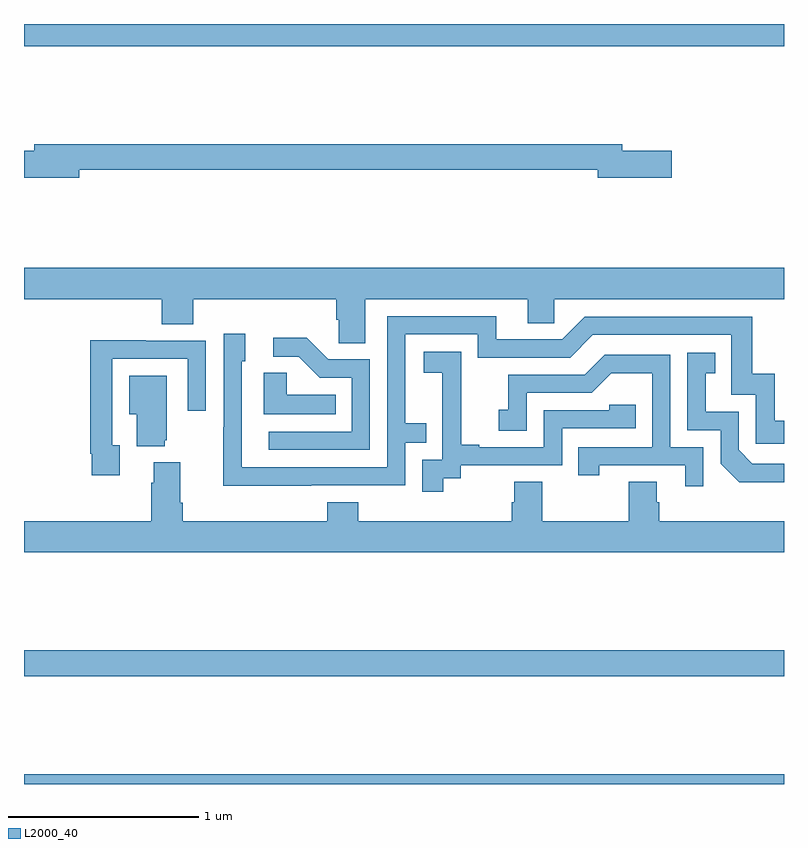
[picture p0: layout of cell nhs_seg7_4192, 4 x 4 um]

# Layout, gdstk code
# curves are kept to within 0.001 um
import gdstk
lib = gdstk.Library(unit=1e-6, precision=1e-09)
def R(c, l, rs):  # rectangles x0, y0, x1, y1
    for r in rs: c.add(gdstk.rectangle(r[:2], r[2:], *l))
def P(c, l, *ps):  # polygons
    for p in ps: c.add(gdstk.Polygon(p, *l))
L2000_40 = (2000, 40)

nhs_seg7_4192 = lib.new_cell('nhs_seg7_4192')
R(nhs_seg7_4192, L2000_40, [(375,1062,379,1062.052), (375,1062.568,379,1062.704), (375,1065.884,379,1066)])
P(nhs_seg7_4192, L2000_40, [(375.292,1065.232),(378.02,1065.232),(378.02,1065.19),(378.409,1065.19),(378.409,1065.332),(378.148,1065.332),(378.148,1065.368),(375.053,1065.368),(375.053,1065.332),(375,1065.332),(375,1065.19),(375.292,1065.19)],
  [(376.795,1064.552),(377.651,1064.552),(377.651,1064.425),(377.79,1064.425),(377.79,1064.552),(379,1064.552),(379,1064.716),(375,1064.716),(375,1064.552),(375.725,1064.552),(375.725,1064.419),(375.89,1064.419),(375.89,1064.552),(376.643,1064.552),(376.643,1064.443),(376.656,1064.443),(376.656,1064.32),(376.795,1064.32)],
  [(376.511,1063.572),(377.007,1063.572),(377.007,1063.797),(377.117,1063.797),(377.117,1063.898),(377.007,1063.898),(377.007,1064.367),(377.388,1064.367),(377.388,1064.244),(377.874,1064.244),(377.994,1064.364),(378.723,1064.364),(378.723,1064.049),(378.852,1064.049),(378.852,1063.791),(379,1063.791),(379,1063.911),(378.95,1063.911),(378.95,1064.158),(378.832,1064.158),(378.832,1064.46),(377.952,1064.46),(377.832,1064.34),(377.485,1064.34),(377.485,1064.463),(376.911,1064.463),(376.911,1063.668),(376.146,1063.668),(376.146,1064.226),(376.165,1064.226),(376.165,1064.371),(376.05,1064.371),(376.05,1063.877),(376.048,1063.877),(376.048,1063.571)],
  [(376.821,1064.235),(376.602,1064.235),(376.489,1064.348),(376.311,1064.348),(376.311,1064.25),(376.445,1064.25),(376.556,1064.139),(376.725,1064.139),(376.725,1063.854),(376.287,1063.854),(376.287,1063.758),(376.821,1063.758)],
  [(375.505,1063.782),(375.465,1063.782),(375.465,1064.238),(375.861,1064.238),(375.861,1063.965),(375.957,1063.965),(375.957,1064.334),(375.641,1064.334),(375.641,1064.336),(375.349,1064.336),(375.349,1063.738),(375.357,1063.738),(375.357,1063.626),(375.505,1063.626)],
  [(377.206,1063.609),(377.298,1063.609),(377.298,1063.677),(377.832,1063.677),(377.832,1063.872),(378.221,1063.872),(378.221,1063.995),(378.081,1063.995),(378.081,1063.968),(377.736,1063.968),(377.736,1063.773),(377.395,1063.773),(377.395,1063.786),(377.3,1063.786),(377.3,1064.069),(377.301,1064.069),(377.301,1064.275),(377.103,1064.275),(377.103,1064.165),(377.201,1064.165),(377.201,1063.937),(377.202,1063.937),(377.202,1063.707),(377.097,1063.707),(377.097,1063.539),(377.206,1063.539)],
  [(379,1063.686),(378.834,1063.686),(378.762,1063.758),(378.762,1063.959),(378.589,1063.959),(378.589,1064.163),(378.638,1064.163),(378.638,1064.269),(378.492,1064.269),(378.492,1063.863),(378.666,1063.863),(378.666,1063.686),(378.764,1063.589),(379,1063.589)],
  [(378.576,1063.773),(378.402,1063.773),(378.402,1064.259),(378.056,1064.259),(377.951,1064.154),(377.548,1064.154),(377.548,1063.969),(377.499,1063.969),(377.499,1063.86),(377.646,1063.86),(377.646,1064.058),(377.988,1064.058),(378.092,1064.162),(378.306,1064.162),(378.306,1063.773),(377.917,1063.773),(377.917,1063.626),(378.028,1063.626),(378.028,1063.677),(378.479,1063.677),(378.479,1063.566),(378.576,1063.566)],
  [(376.64,1064.05),(376.383,1064.05),(376.383,1064.165),(376.262,1064.165),(376.262,1063.946),(376.64,1063.946)],
  [(375.74,1063.809),(375.751,1063.809),(375.751,1064.149),(375.554,1064.149),(375.554,1063.946),(375.593,1063.946),(375.593,1063.778),(375.74,1063.778)],
  [(379,1063.384),(378.344,1063.384),(378.344,1063.482),(378.331,1063.482),(378.331,1063.592),(378.184,1063.592),(378.184,1063.384),(377.727,1063.384),(377.727,1063.592),(377.579,1063.592),(377.579,1063.482),(377.567,1063.482),(377.567,1063.384),(376.76,1063.384),(376.76,1063.483),(376.595,1063.483),(376.595,1063.384),(375.836,1063.384),(375.836,1063.48),(375.823,1063.48),(375.823,1063.693),(375.683,1063.693),(375.683,1063.586),(375.671,1063.586),(375.671,1063.384),(375,1063.384),(375,1063.22),(379,1063.22)])

lib.write_gds('nhs_seg7_4192.gds')
